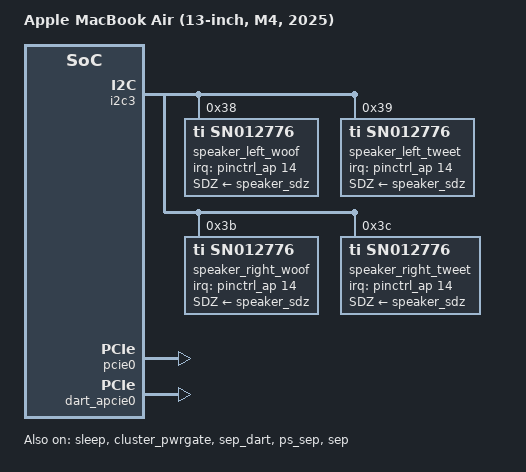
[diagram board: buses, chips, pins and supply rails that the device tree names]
// SPDX-License-Identifier: GPL-2.0+ OR MIT
/*
 * Apple MacBook Air (13-inch, M4, 2025)
 *
 * target-type: J713
 *
 * Copyright The Asahi Linux Contributors
 */

/dts-v1/;

#include "t8132.dtsi"
#include "t8132-j713-j715.dtsi"
#include <dt-bindings/gpio/gpio.h>

/ {
	compatible = "apple,j713", "apple,t8132", "apple,arm-platform";
	model = "Apple MacBook Air (13-inch, M4, 2025)";

	/*
	 * The AOP firmware runs the stream (MCA cluster 0, one serializer for
	 * the four amps); macaudio's J713 variant links the AOP audio
	 * component's speaker back-end (DAI 3) to them. The codecs are listed in
	 * the ADT provider order, so each gets its native playback slot (LW 0,
	 * RW 1, LT 2, RT 3). The idle masks are the ADT amp-tx-zd-config rows 0
	 * and 1 over the 16 sense byte slots: the left woofer drives zeros in
	 * the right amps' sense slots, the right woofer in the left amps'.
	 */
	sound: sound {
		compatible = "apple,j713-macaudio", "apple,macaudio";
		model = "MacBook Air J713";
		#address-cells = <1>;
		#size-cells = <0>;

		dai-link@0 {
			reg = <0>;
			link-name = "Speakers";
			dai-tdm-idle-mode-0 = "zero";
			dai-tdm-idle-mode-1 = "zero";
			dai-tdm-slot-tx-idle-mask-0 = <0xf0f0>;
			dai-tdm-slot-tx-idle-mask-1 = <0x0f0f>;

			cpu {
				sound-dai = <&aop_audio 3>;
			};

			codec {
				sound-dai = <&speaker_left_woof>, <&speaker_right_woof>,
					    <&speaker_left_tweet>, <&speaker_right_tweet>;
			};
		};
	};

	/*
	 * Physical size of the firmware framebuffer's 2560x1600 area below the
	 * notch (13.6" panel, 224 ppi), so simpledrm reports the real DPI.
	 */
	fb_panel: panel {
		width-mm = <290>;
		height-mm = <181>;
		status = "disabled";
	};
};

&sound_jack {
	compatible = "apple,j713-macaudio-jack", "apple,macaudio";
	model = "MacBook Air J713 Jack";
};

&mtp_hid {
	multi-touch {
		firmware-name = "apple/tpmtfw-j713.bin";
	};
};

&aop_audio {
	apple,chassis-name = "J713";
	apple,machine-kind = "MacBook Air";
};

/* Deep sleep has been brought up and tested on this machine only. */
&sleep {
	status = "okay";
};

/* Deep sleep needs both CPU clusters' power gates; iBoot enables E's only. */
&cluster_pwrgate {
	status = "okay";
};

/* The enclave must take the sleep request, so its driver has to bind. */
&sep_dart {
	status = "okay";
};

/* Only named: the sleep's last refusal reads its state to see the enclave gate. */
&ps_sep {
	apple,firmware-owned;
	status = "okay";
};

&sep {
	/*
	 * Without a domain the driver tells the enclave at .suspend, and a sleep
	 * refused after that finds it gated with its mailbox gone.
	 */
	power-domains = <&ps_sep>, <&ps_gpio>;
	status = "okay";
};

/*
 * The four SN012776 speaker amps, held in hardware shutdown until the sound
 * card enables them (ADT /arm-io/i2c3/audio-speaker at 0x38 and its
 * speaker1..3): one interrupt line on AP GPIO 14, level low; sense slots from
 * speaker-config (amp i at RX bytes 4i and 4i + 2, order LW RW LT RT). Names
 * as speakersafetyd's j413/j613 profiles use them. Every amp joins the SDZ
 * fail-closed group.
 */
&i2c3 {
	status = "okay";

	speaker_left_woof: codec@38 {
		compatible = "ti,sn012776", "ti,tas2764";
		reg = <0x38>;
		SDZ-supply = <&speaker_sdz>;
		apple,sdz-group-fail-closed;
		apple,deferred-shutdown;
		#sound-dai-cells = <0>;
		sound-name-prefix = "Left Woofer";
		interrupts-extended = <&pinctrl_ap 14 IRQ_TYPE_LEVEL_LOW>;
		ti,imon-slot-no = <0>;
		ti,vmon-slot-no = <2>;
	};

	speaker_left_tweet: codec@39 {
		compatible = "ti,sn012776", "ti,tas2764";
		reg = <0x39>;
		SDZ-supply = <&speaker_sdz>;
		apple,sdz-group-fail-closed;
		apple,deferred-shutdown;
		#sound-dai-cells = <0>;
		sound-name-prefix = "Left Tweeter";
		interrupts-extended = <&pinctrl_ap 14 IRQ_TYPE_LEVEL_LOW>;
		ti,imon-slot-no = <8>;
		ti,vmon-slot-no = <10>;
	};

	speaker_right_woof: codec@3b {
		compatible = "ti,sn012776", "ti,tas2764";
		reg = <0x3b>;
		SDZ-supply = <&speaker_sdz>;
		apple,sdz-group-fail-closed;
		apple,deferred-shutdown;
		#sound-dai-cells = <0>;
		sound-name-prefix = "Right Woofer";
		interrupts-extended = <&pinctrl_ap 14 IRQ_TYPE_LEVEL_LOW>;
		ti,imon-slot-no = <4>;
		ti,vmon-slot-no = <6>;
	};

	speaker_right_tweet: codec@3c {
		compatible = "ti,sn012776", "ti,tas2764";
		reg = <0x3c>;
		SDZ-supply = <&speaker_sdz>;
		apple,sdz-group-fail-closed;
		apple,deferred-shutdown;
		#sound-dai-cells = <0>;
		sound-name-prefix = "Right Tweeter";
		interrupts-extended = <&pinctrl_ap 14 IRQ_TYPE_LEVEL_LOW>;
		ti,imon-slot-no = <12>;
		ti,vmon-slot-no = <14>;
	};
};

&mesa {
	/*
	 * Per-device factory data from this Mac's own iBoot system container:
	 * the calibration, and the signed root key the nonce session loads.
	 */
	firmware-name = "apple/mesacal-j713.bin", "apple/msrk-j713.bin";
};

/*
 * The DCP powers its display domains down while blanked
 * (appledrm.power_gate_ms): the clock protection slices of its DARTs, as the
 * ADT has them, and the internal pipe's PMC interface.
 */
&dcp_dart {
	apple,clock-protection = <&ps_prot 42>;
};

&disp0_dart {
	apple,clock-protection = <&ps_prot 8>;
};

&dcp {
	apple,pmc-interface = <&pmc_disp0>;
};

/*
 * Each external DCP powers its CPU, front-end and system domains off around
 * a deep sleep. The system domains have a bus bridge in front of their
 * block: its link words are 0x800104 past the start of the block's disp-3
 * registers (reg 4 of the external DCP).
 */
&ps_dispext0_sys {
	apple,consumer-switched;
	apple,bridge-link = <&dcpext0 4 0x800104>;
};

&ps_dispext0_fe {
	apple,consumer-switched;
};

&ps_dispext0_cpu {
	apple,consumer-switched;
	/* Power-gate retention workaround, as macOS sets it while off. */
	apple,retention-workaround = <0x256cc 0x3 0x3>, <0x256f0 0x3 0x0>;
};

&ps_dispext1_sys {
	apple,consumer-switched;
	apple,bridge-link = <&dcpext1 4 0x800104>;
};

&ps_dispext1_fe {
	apple,consumer-switched;
};

&ps_dispext1_cpu {
	apple,consumer-switched;
	/* Power-gate retention workaround, as macOS sets it while off. */
	apple,retention-workaround = <0x25b4c 0x3 0x3>, <0x25b70 0x3 0x0>;
};

/*
 * A deep sleep with a dock attached powers these off: their hosts (the ACIO
 * NHIs, the tunneled PCIe ports and the external DCPs) take them down and
 * restore them, with these clock protection slices.
 */
&usb4_0_dart {
	apple,clock-protection = <&ps_prot 15>;
};

&usb4_1_dart {
	apple,clock-protection = <&ps_prot 19>;
};

&usb4_0_pcie_dart {
	apple,clock-protection = <&ps_prot 14>;
};

&usb4_1_pcie_dart {
	apple,clock-protection = <&ps_prot 18>;
};

&dcpext0_dart {
	apple,clock-protection = <&ps_prot 5>;
};

&dispext0_dart {
	apple,clock-protection = <&ps_prot 4>;
};

&dcpext1_dart {
	apple,clock-protection = <&ps_prot 30>;
};

&dispext1_dart {
	apple,clock-protection = <&ps_prot 29>;
};

/* Native radio recovery is required before admitting system sleep. */
&pcie0 {
	status = "okay";
};

&dart_apcie0 {
	status = "okay";
};

&port00 {
	clkreq-gpios = <&pinctrl_ap 160 GPIO_ACTIVE_LOW>;
};
